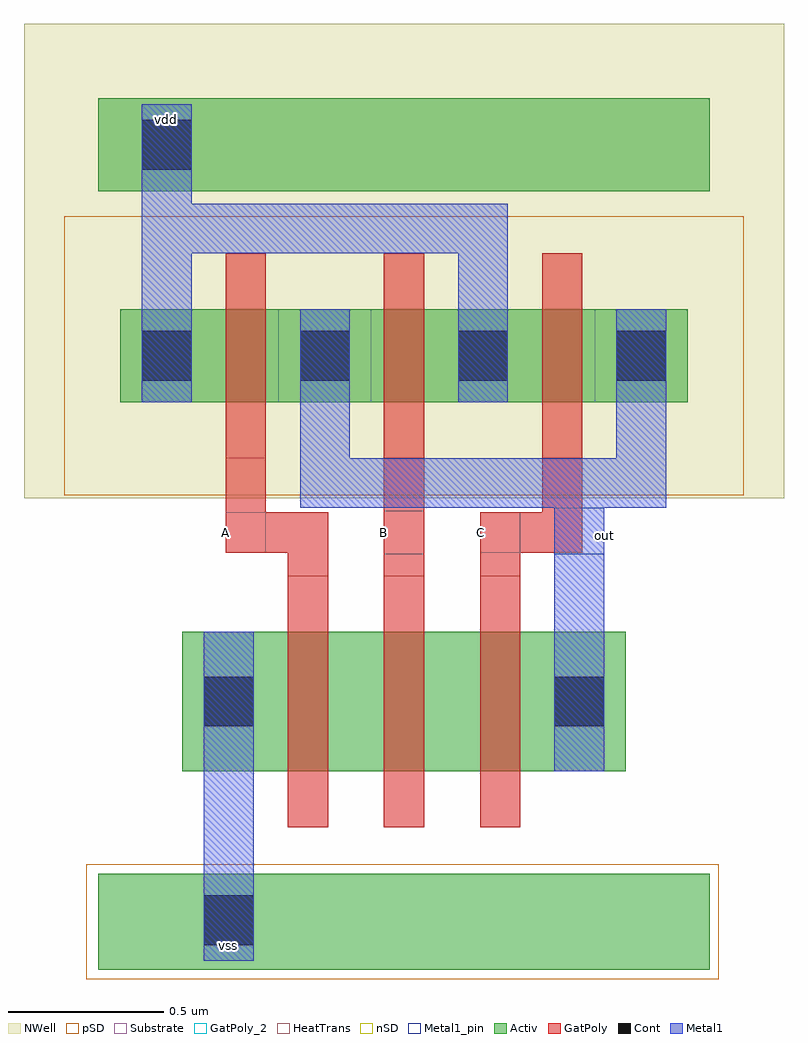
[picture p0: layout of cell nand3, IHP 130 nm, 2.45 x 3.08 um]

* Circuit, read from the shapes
.subckt nand3 A B C out vdd vss
XM1 n1 A vss vss sg13_lv_nmos w=0.45u l=0.13u
XM2 n2 B n1 vss sg13_lv_nmos w=0.45u l=0.13u
XM3 out C n2 vss sg13_lv_nmos w=0.45u l=0.13u
XM4 out A vdd vdd sg13_lv_pmos w=0.3u l=0.13u
XM5 vdd B out vdd sg13_lv_pmos w=0.3u l=0.13u
XM6 out C vdd vdd sg13_lv_pmos w=0.3u l=0.13u
.ends

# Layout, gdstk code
import gdstk
lib = gdstk.Library(unit=1e-6, precision=5e-09)
def R(c, l, rs):  # rectangles x0, y0, x1, y1
    for r in rs: c.add(gdstk.rectangle(r[:2], r[2:], *l))
def A(c, l, x, y, w, h, nx, ny, dx, dy):  # array of equal rectangles
    R(c, l, [(x+i*dx, y+j*dy, x+i*dx+w, y+j*dy+h) for i in range(nx) for j in range(ny)])
def P(c, l, *ps):  # polygons
    for p in ps: c.add(gdstk.Polygon(p, *l))
Activ = (1, 0)
GatPoly = (5, 0)
GatPoly_2 = (5, 2)
Cont = (6, 0)
nSD = (7, 0)
Metal1 = (8, 0)
Metal1_pin = (8, 2)
pSD = (14, 0)
NWell = (31, 0)
Substrate = (40, 0)
HeatTrans = (51, 0)

nmos_serie = lib.new_cell('nmos_serie')
R(nmos_serie, Activ, [(0,0.18,1.43,0.63)])
A(nmos_serie, GatPoly, 0.34, 0, 0.13, 0.81, 3, 1, 0.31, 0)
R(nmos_serie, Cont, [(0.07,0.325,0.23,0.485), (1.2,0.325,1.36,0.485)])
R(nmos_serie, Metal1, [(0.07,0.18,0.23,0.63), (1.2,0.18,1.36,0.63)])
A(nmos_serie, HeatTrans, 0.34, 0, 0.13, 0.81, 3, 1, 0.31, 0)
nmos_serie.add(gdstk.Label('nmos', (0.71,0.41), layer=63, texttype=0))
nmos_serie.add(gdstk.Label('nmos', (1.02,0.4), layer=63, texttype=0))
nmos_serie.add(gdstk.Label('nmos', (0.405,0.405), layer=63, texttype=0))
nmos_serie.add(gdstk.Label('nmos', (0.71,0.41), layer=51, texttype=0))
nmos_serie.add(gdstk.Label('nmos', (1.02,0.4), layer=51, texttype=0))
nmos_serie.add(gdstk.Label('nmos', (0.405,0.405), layer=51, texttype=0))

pmos_parallel = lib.new_cell('pmos_parallel')
R(pmos_parallel, Activ, [(0.31,0.31,2.14,0.61), (0.31,0.31,0.61,0.61), (1.84,0.31,2.14,0.61)])
R(pmos_parallel, GatPoly, [(0.65,0.13,0.78,0.79), (0.65,0.13,0.78,0.79), (1.16,0.13,1.29,0.79), (1.16,0.13,1.29,0.79), (1.67,0.13,1.8,0.79), (1.67,0.13,1.8,0.79)])
A(pmos_parallel, Cont, 0.38, 0.38, 0.16, 0.16, 4, 1, 0.51, 0)
R(pmos_parallel, Metal1, [(0.38,0.31,0.54,0.61), (0.38,0.31,0.54,0.61), (0.89,0.31,1.05,0.61), (0.89,0.31,1.05,0.61), (1.4,0.31,1.56,0.61), (1.4,0.31,1.56,0.61), (1.91,0.31,2.07,0.61), (1.91,0.31,2.07,0.61)])
R(pmos_parallel, pSD, [(0.13,0.01,2.32,0.91)])
R(pmos_parallel, NWell, [(0,0,2.45,0.92)])
R(pmos_parallel, Substrate, [(0.82,0.31,1.12,0.61), (1.84,0.31,2.14,0.61)])
A(pmos_parallel, HeatTrans, 0.65, 0.13, 0.13, 0.66, 3, 1, 0.51, 0)
pmos_parallel.add(gdstk.Label('pmos', (1.22,0.46), layer=63, texttype=0))
pmos_parallel.add(gdstk.Label('pmos', (1.74,0.46), layer=63, texttype=0))
pmos_parallel.add(gdstk.Label('pmos', (0.715,0.46), layer=63, texttype=0))
pmos_parallel.add(gdstk.Label('pmos', (1.22,0.46), layer=51, texttype=0))
pmos_parallel.add(gdstk.Label('pmos', (1.74,0.46), layer=51, texttype=0))
pmos_parallel.add(gdstk.Label('pmos', (0.715,0.46), layer=51, texttype=0))

nand3 = lib.new_cell('nand3')
R(nand3, Activ, [(0.24,-1.52,2.21,-1.21), (0.24,0.99,2.21,1.29)])
R(nand3, GatPoly, [(1.16,-0.25,1.29,0.13)])
P(nand3, GatPoly, [(0.85,-0.25),(0.85,-0.175),(0.65,-0.175),(0.65,0.13),(0.78,0.13),(0.78,-0.045),(0.98,-0.045),(0.98,-0.25)],
  [(1.47,-0.25),(1.47,-0.045),(1.67,-0.045),(1.67,0.13),(1.8,0.13),(1.8,-0.175),(1.6,-0.175),(1.6,-0.25)])
R(nand3, GatPoly_2, [(1.16,-0.18,1.29,-0.04), (0.65,-0.175,0.78,-0.045), (1.47,-0.175,1.6,-0.045)])
R(nand3, Cont, [(0.58,-1.44,0.74,-1.28), (0.38,1.06,0.54,1.22)])
R(nand3, nSD, [(0.24,0.99,2.21,1.29)])
R(nand3, Metal1, [(0.58,-1.49,0.74,-0.88)])
P(nand3, Metal1, [(1.71,-0.655),(1.71,-0.03),(0.89,-0.03),(0.89,0.46),(1.05,0.46),(1.05,0.13),(1.91,0.13),(1.91,0.46),(2.07,0.46),(2.07,-0.03),(1.87,-0.03),(1.87,-0.655)],
  [(0.38,0.46),(0.38,1.27),(0.54,1.27),(0.54,0.95),(1.56,0.95),(1.56,0.46),(1.4,0.46),(1.4,0.79),(0.54,0.79),(0.54,0.46)])
R(nand3, Metal1_pin, [(1.71,-0.18,1.87,-0.03)])
R(nand3, pSD, [(0.2,-1.55,2.24,-1.18)])
R(nand3, NWell, [(0,0.92,2.45,1.53)])
nand3.add(gdstk.Reference(nmos_serie, (0.51,-1.06)))
nand3.add(gdstk.Reference(pmos_parallel, (0,0)))
nand3.add(gdstk.Label('vdd', (0.46,1.22), layer=8, texttype=2))
nand3.add(gdstk.Label('vss', (0.66,-1.44), layer=8, texttype=2))
nand3.add(gdstk.Label('out', (1.87,-0.12), layer=8, texttype=2))
nand3.add(gdstk.Label('A', (0.65,-0.11), layer=5, texttype=2))
nand3.add(gdstk.Label('B', (1.16,-0.11), layer=5, texttype=2))
nand3.add(gdstk.Label('C', (1.47,-0.11), layer=5, texttype=2))

lib.write_gds('nand3.gds')
